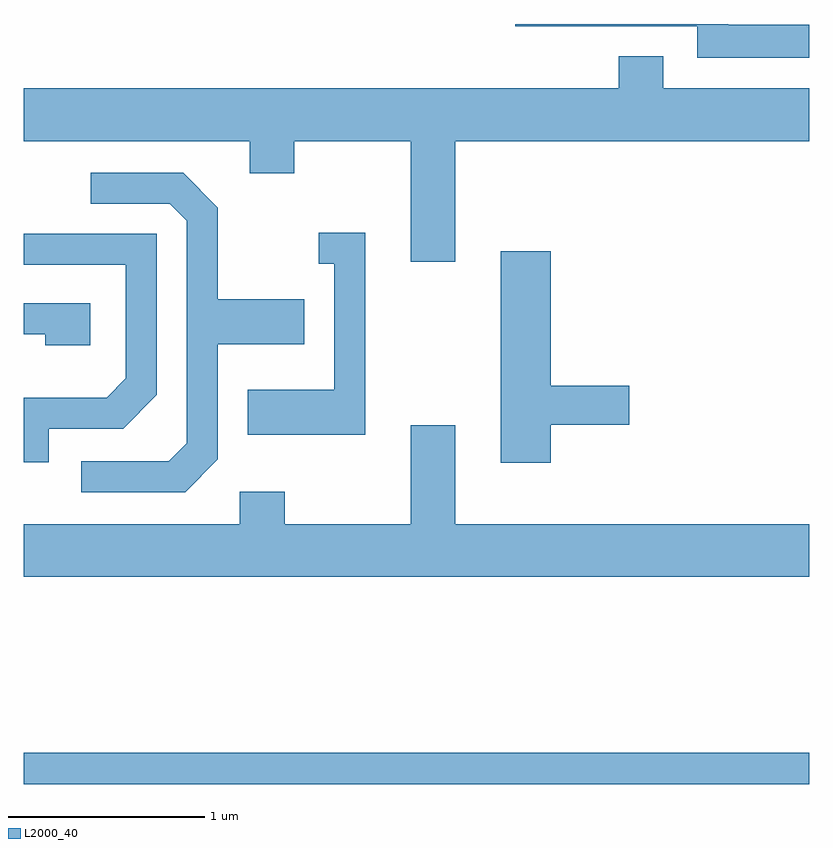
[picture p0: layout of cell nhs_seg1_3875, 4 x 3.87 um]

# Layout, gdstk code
import gdstk
lib = gdstk.Library(unit=1e-6, precision=1e-09)
def R(c, l, rs):  # rectangles x0, y0, x1, y1
    for r in rs: c.add(gdstk.rectangle(r[:2], r[2:], *l))
def P(c, l, *ps):  # polygons
    for p in ps: c.add(gdstk.Polygon(p, *l))
L2000_40 = (2000, 40)

nhs_seg1_3875 = lib.new_cell('nhs_seg1_3875')
R(nhs_seg1_3875, L2000_40, [(301.611,911.841,305.611,911.999)])
P(nhs_seg1_3875, L2000_40, [(305.611,915.709),(305.199,915.709),(305.199,915.712),(304.113,915.712),(304.113,915.701),(305.041,915.701),(305.041,915.541),(305.611,915.541)],
  [(303.809,915.116),(305.611,915.116),(305.611,915.384),(304.869,915.384),(304.869,915.549),(304.641,915.549),(304.641,915.384),(301.611,915.384),(301.611,915.116),(302.761,915.116),(302.761,914.951),(302.989,914.951),(302.989,915.116),(303.581,915.116),(303.581,914.501),(303.809,914.501)],
  [(302.599,913.494),(302.599,914.081),(303.039,914.081),(303.039,914.309),(302.599,914.309),(302.599,914.777),(302.422,914.954),(301.953,914.954),(301.953,914.796),(302.354,914.796),(302.441,914.709),(302.441,913.577),(302.349,913.484),(301.903,913.484),(301.903,913.326),(302.432,913.326)],
  [(303.349,914.649),(303.113,914.649),(303.113,914.491),(303.191,914.491),(303.191,913.849),(302.751,913.849),(302.751,913.621),(303.349,913.621)],
  [(301.739,913.651),(302.117,913.651),(302.289,913.824),(302.289,914.644),(301.611,914.644),(301.611,914.486),(302.131,914.486),(302.131,913.907),(302.034,913.809),(301.611,913.809),(301.611,913.481),(301.739,913.481)],
  [(304.294,913.671),(304.694,913.671),(304.694,913.869),(304.294,913.869),(304.294,914.554),(304.041,914.554),(304.041,913.476),(304.294,913.476)],
  [(301.949,914.289),(301.611,914.289),(301.611,914.131),(301.721,914.131),(301.721,914.076),(301.949,914.076)],
  [(305.611,913.164),(303.809,913.164),(303.809,913.669),(303.581,913.669),(303.581,913.164),(302.939,913.164),(302.939,913.329),(302.711,913.329),(302.711,913.164),(301.611,913.164),(301.611,912.896),(305.611,912.896)])

lib.write_gds('nhs_seg1_3875.gds')
